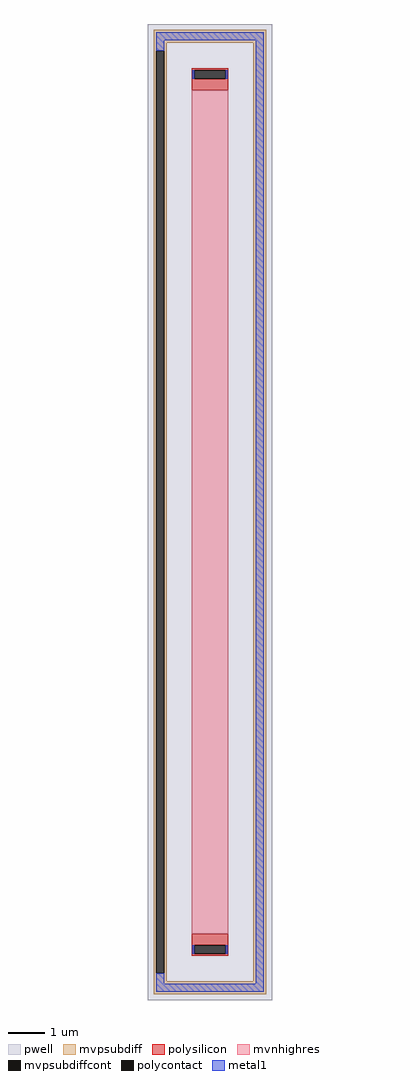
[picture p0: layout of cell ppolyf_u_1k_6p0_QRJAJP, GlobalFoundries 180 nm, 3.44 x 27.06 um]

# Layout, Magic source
magic
tech gf180mcuD
magscale 1 10
<< pwell >>
rect -344 -2706 344 2706
<< mvpsubdiff >>
rect -312 2602 312 2674
rect -312 2558 -240 2602
rect -312 -2558 -299 2558
rect -253 -2558 -240 2558
rect -312 -2602 -240 -2558
rect 240 -2602 312 2602
rect -312 -2674 312 -2602
<< mvpsubdiffcont >>
rect -299 -2558 -253 2558
<< polysilicon >>
rect -100 2449 100 2462
rect -100 2403 -87 2449
rect 87 2403 100 2449
rect -100 2340 100 2403
rect -100 -2403 100 -2340
rect -100 -2449 -87 -2403
rect 87 -2449 100 -2403
rect -100 -2462 100 -2449
<< polycontact >>
rect -87 2403 87 2449
rect -87 -2449 87 -2403
<< mvnhighres >>
rect -100 -2340 100 2340
<< metal1 >>
rect -299 2615 299 2661
rect -299 2558 -253 2615
rect -98 2403 -87 2449
rect 87 2403 98 2449
rect -98 -2449 -87 -2403
rect 87 -2449 98 -2403
rect -299 -2615 -253 -2558
rect 253 -2615 299 2615
rect -299 -2661 299 -2615
<< properties >>
string FIXED_BBOX -276 -2638 276 2638
string gencell ppolyf_u_1k_6p0
string library gf180mcu
string parameters w 1.0 l 23.4 m 1 nx 1 wmin 1.000 lmin 1.000 class resistor rho 1000 val 23.4k dummy 0 dw 0.0 term 0.0 sterm 0.0 caplen 0.4 snake 0 glc 1 grc 1 gtc 0 gbc 0 roverlap 0 endcov 100 full_metal 1 compatible {ppolyf_u_1k ppolyf_u_1k_6p0}
<< end >>
